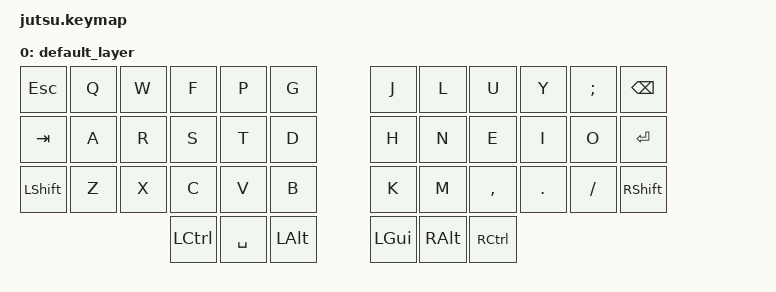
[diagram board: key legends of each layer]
#include <behaviors.dtsi>
#include <dt-bindings/zmk/keys.h>

/ {
    keymap {
        compatible = "zmk,keymap";
        default_layer {
            bindings = <
                &kp ESC    &kp Q      &kp W      &kp F      &kp P      &kp G      &kp J      &kp L      &kp U      &kp Y      &kp SEMI   &kp BSPC
                &kp TAB    &kp A      &kp R      &kp S      &kp T      &kp D      &kp H      &kp N      &kp E      &kp I      &kp O      &kp RET
                &kp LSHFT  &kp Z      &kp X      &kp C      &kp V      &kp B      &kp K      &kp M      &kp COMMA  &kp DOT    &kp SLASH  &kp RSHFT
                                           &kp LCTL   &kp SPC   &kp LALT   &kp LGUI    &kp RALT    &kp RCTL
            >;
        };
    };
};
